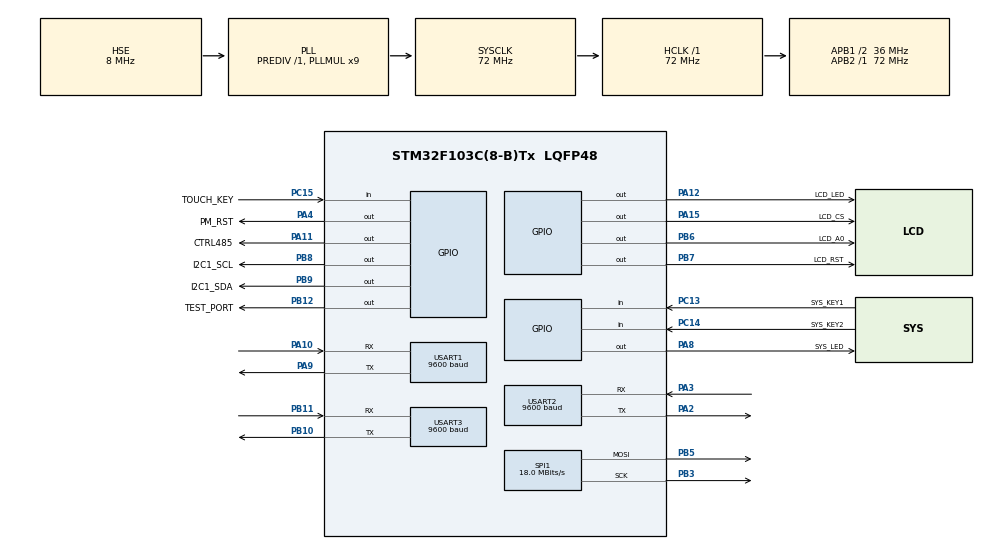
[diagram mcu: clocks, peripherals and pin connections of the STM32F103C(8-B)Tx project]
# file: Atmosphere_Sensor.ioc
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Dma.Request0=USART3_TX
Dma.Request1=USART2_TX
Dma.Request2=USART1_TX
Dma.USART1_TX.2.Direction=DMA_MEMORY_TO_PERIPH
Dma.USART1_TX.2.Instance=DMA1_Channel4
Dma.USART1_TX.2.MemDataAlignment=DMA_MDATAALIGN_BYTE
Dma.USART1_TX.2.MemInc=DMA_MINC_ENABLE
Dma.USART1_TX.2.Mode=DMA_NORMAL
Dma.USART1_TX.2.PeriphDataAlignment=DMA_PDATAALIGN_BYTE
Dma.USART1_TX.2.PeriphInc=DMA_PINC_DISABLE
Dma.USART1_TX.2.Priority=DMA_PRIORITY_LOW
Dma.USART2_TX.1.Direction=DMA_MEMORY_TO_PERIPH
Dma.USART2_TX.1.Instance=DMA1_Channel7
Dma.USART2_TX.1.MemDataAlignment=DMA_MDATAALIGN_BYTE
Dma.USART2_TX.1.MemInc=DMA_MINC_ENABLE
Dma.USART2_TX.1.Mode=DMA_NORMAL
Dma.USART2_TX.1.PeriphDataAlignment=DMA_PDATAALIGN_BYTE
Dma.USART2_TX.1.PeriphInc=DMA_PINC_DISABLE
Dma.USART2_TX.1.Priority=DMA_PRIORITY_LOW
Dma.USART3_TX.0.Direction=DMA_MEMORY_TO_PERIPH
Dma.USART3_TX.0.Instance=DMA1_Channel2
Dma.USART3_TX.0.MemDataAlignment=DMA_MDATAALIGN_BYTE
Dma.USART3_TX.0.MemInc=DMA_MINC_ENABLE
Dma.USART3_TX.0.Mode=DMA_NORMAL
Dma.USART3_TX.0.PeriphDataAlignment=DMA_PDATAALIGN_BYTE
Dma.USART3_TX.0.PeriphInc=DMA_PINC_DISABLE
Dma.USART3_TX.0.Priority=DMA_PRIORITY_LOW
FREERTOS.BinarySemaphores01=MODBUS_RX_CPL,Static,MODBUS_RX_CPL_ControlBlock;VOC_RX_CPL,Static,VOC_RX_CPLControlBlock;PM25_RX_CPL,Static,PM25_RX_CPLControlBlock;RUSH_DISPLAY_REQUEST,Static,RUSH_DISPLAY_REQUESTControlBlock
FREERTOS.HEAP_NUMBER=4
FREERTOS.Tasks01=defaultTask,0,64,StartDefaultTask,Default,NULL,Dynamic,NULL,NULL;LCD_Display,0,128,StartTask_LCD_Display,Default,NULL,Dynamic,NULL,NULL;TH_Sensor,0,128,StartTask_TH_Sensor,Default,NULL,Dynamic,NULL,NULL;Atmosphere,0,128,StartTask_Atmosphere,Default,NULL,Dynamic,NULL,NULL;Modbus,1,192,StartTask_Modbus,Default,NULL,Dynamic,NULL,NULL
FREERTOS.configMINIMAL_STACK_SIZE=64
FREERTOS.configTOTAL_HEAP_SIZE=3136
Mcu.Family=STM32F1
Mcu.Name=STM32F103C(8-B)Tx
Mcu.Package=LQFP48
NVIC.DMA1_Channel2_IRQn=true\:5\:0\:false\:false\:true\:true\:false\:true
NVIC.DMA1_Channel4_IRQn=true\:5\:0\:false\:false\:true\:true\:false\:true
NVIC.DMA1_Channel7_IRQn=true\:5\:0\:false\:false\:true\:true\:false\:true
NVIC.PriorityGroup=NVIC_PRIORITYGROUP_4
NVIC.TIM1_UP_IRQn=true\:0\:0\:false\:false\:true\:false\:false\:true
NVIC.TIM4_IRQn=true\:5\:0\:false\:false\:true\:true\:true\:true
NVIC.TimeBase=TIM1_UP_IRQn
NVIC.TimeBaseIP=TIM1
NVIC.USART1_IRQn=true\:5\:0\:false\:false\:true\:true\:true\:true
NVIC.USART2_IRQn=true\:5\:0\:false\:false\:true\:true\:true\:true
NVIC.USART3_IRQn=true\:5\:0\:false\:false\:true\:true\:true\:true
PA10.Mode=Asynchronous
PA10.Signal=USART1_RX
PA11.GPIO_Label=CTRL485
PA11.Signal=GPIO_Output
PA12.GPIO_Label=LCD_LED
PA12.Signal=GPIO_Output
PA13.Mode=Serial_Wire
PA13.Signal=SYS_JTMS-SWDIO
PA14.Mode=Serial_Wire
PA14.Signal=SYS_JTCK-SWCLK
PA15.GPIO_Label=LCD_CS
PA15.Signal=GPIO_Output
PA2.Mode=Asynchronous
PA2.Signal=USART2_TX
PA3.Mode=Asynchronous
PA3.Signal=USART2_RX
PA4.GPIO_Label=PM_RST
PA4.PinState=GPIO_PIN_SET
PA4.Signal=GPIO_Output
PA8.GPIO_Label=SYS_LED
PA8.PinState=GPIO_PIN_SET
PA8.Signal=GPIO_Output
PA9.Mode=Asynchronous
PA9.Signal=USART1_TX
PB10.Mode=Asynchronous
PB10.Signal=USART3_TX
PB11.Mode=Asynchronous
PB11.Signal=USART3_RX
PB12.GPIO_Label=TEST_PORT
PB12.Signal=GPIO_Output
PB3.Mode=TX_Only_Simplex_Unidirect_Master
PB3.Signal=SPI1_SCK
PB5.Mode=TX_Only_Simplex_Unidirect_Master
PB5.Signal=SPI1_MOSI
PB6.GPIO_Label=LCD_A0
PB6.Signal=GPIO_Output
PB7.GPIO_Label=LCD_RST
PB7.Signal=GPIO_Output
PB8.GPIO_Label=I2C1_SCL
PB8.Signal=GPIO_Output
PB9.GPIO_Label=I2C1_SDA
PB9.Signal=GPIO_Output
PC13-TAMPER-RTC.GPIO_Label=SYS_KEY1
PC13-TAMPER-RTC.GPIO_PuPd=GPIO_PULLUP
PC13-TAMPER-RTC.Signal=GPIO_Input
PC14-OSC32_IN.GPIO_Label=SYS_KEY2
PC14-OSC32_IN.GPIO_PuPd=GPIO_PULLUP
PC14-OSC32_IN.Signal=GPIO_Input
PC15-OSC32_OUT.GPIO_Label=TOUCH_KEY
PC15-OSC32_OUT.Signal=GPIO_Input
PD0-OSC_IN.Mode=HSE-External-Oscillator
PD0-OSC_IN.Signal=RCC_OSC_IN
PD1-OSC_OUT.Mode=HSE-External-Oscillator
PD1-OSC_OUT.Signal=RCC_OSC_OUT
ProjectManager.HeapSize=0x200
ProjectManager.StackSize=0x400
ProjectManager.TargetToolchain=MDK-ARM V5
RCC.AHBFreq_Value=72000000
RCC.APB1CLKDivider=RCC_HCLK_DIV2
RCC.APB1Freq_Value=36000000
RCC.APB1TimFreq_Value=72000000
RCC.APB2Freq_Value=72000000
RCC.APB2TimFreq_Value=72000000
RCC.HCLKFreq_Value=72000000
RCC.PLLMUL=RCC_PLL_MUL9
RCC.PLLSourceVirtual=RCC_PLLSOURCE_HSE
RCC.SYSCLKFreq_VALUE=72000000
RCC.SYSCLKSource=RCC_SYSCLKSOURCE_PLLCLK
RCC.USBFreq_Value=72000000
SPI1.BaudRatePrescaler=SPI_BAUDRATEPRESCALER_4
SPI1.CalculateBaudRate=18.0 MBits/s
SPI1.Direction=SPI_DIRECTION_2LINES
SPI1.Mode=SPI_MODE_MASTER
SPI1.VirtualType=VM_MASTER
TIM4.Period=100-1
TIM4.Prescaler=72-1
USART1.BaudRate=9600
USART1.VirtualMode=VM_ASYNC
USART2.BaudRate=9600
USART2.VirtualMode=VM_ASYNC
USART3.BaudRate=9600
USART3.VirtualMode=VM_ASYNC
VP_FREERTOS_VS_CMSIS_V1.Mode=CMSIS_V1
VP_SYS_VS_tim1.Mode=TIM1
VP_TIM4_VS_ClockSourceINT.Mode=Internal
board=custom

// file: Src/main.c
/* USER CODE BEGIN Header */
/**
  ******************************************************************************
  * @file           : main.c
  * @brief          : Main program body
  ******************************************************************************
  * @attention
  *
  * <h2><center>&copy; Copyright (c) 2020 STMicroelectronics.
  * All rights reserved.</center></h2>
  *
  * This software component is licensed by ST under Ultimate Liberty license
  * SLA0044, the "License"; You may not use this file except in compliance with
  * the License. You may obtain a copy of the License at:
  *                             www.st.com/SLA0044
  *
  ******************************************************************************
  */
/* USER CODE END Header */

#include "main.h"
#include "cmsis_os.h"
#include "dma.h"
#include "spi.h"
#include "tim.h"
#include "usart.h"
#include "gpio.h"

/* USER CODE BEGIN Includes */
#include "stdio.h"
#include "string.h"
#include "st7735.h"
#include "modbus.h"
#include "tvoc.h"
#include "pm25.h"
/* USER CODE END Includes */

/* USER CODE BEGIN PV */
uint16_t Temperature_Data;
uint16_t Humidity_Data;
uint16_t Pm25_Data;
uint16_t Pm10_Data;
uint16_t Eco2_Data;
uint16_t Tvoc_Data;
uint16_t Ch2o_Data;

unsigned int Display_Sensor_Type = 0;//显示传感器类型
char *String_Display_Sensor_Type[8] = {"Temperature"," Humidity  ","    PM25   ","    PM10   ","    eCO2   ","    TVOC   ","    HCHO   ","    All"};
char Lcd_Display_Buff[8];

//===========外部变量_START================
extern osSemaphoreId VOC_RX_CPLHandle;
extern osSemaphoreId PM25_RX_CPLHandle;

extern char Lcd_Display_Buff[8];

extern uint8_t Tvoc_Data_Buff[6];
extern uint8_t Pm25_Data_Buff[4];
extern int16_t Actual_Temperature_Data;
extern int16_t Actual_Humidity_Data;

extern uint16_t * Modbus_Memory_Address;//modbus数据存储空间首地址modbus.c
//===========外部变量_END================

/* USER CODE END PV */

void SystemClock_Config(void);
void MX_FREERTOS_Init(void);

/* USER CODE BEGIN 0 */

//串口接收完成回调
void HAL_UART_RxCpltCallback(UART_HandleTypeDef *huart)
{
//======Uart1_START========
	if(huart->Instance == USART1)
	{
		Modbus_Uart_Rx_Int_Process();
	}
//======Uart1_END========

//======Uart2_START========
	if(huart->Instance == USART2)
	{
		osSemaphoreRelease(PM25_RX_CPLHandle);
	}
//======Uart2_END========

//======Uart3_START========
	if(huart->Instance == USART3)
	{
		osSemaphoreRelease(VOC_RX_CPLHandle);
	}
//======Uart3_END========
}

//串口发送完成回调
void HAL_UART_TxCpltCallback(UART_HandleTypeDef *huart)
{
	if(huart->Instance == USART1)
	{
		Modbus_Uart_Tx_Complete_Process();
	}
}

/* USER CODE END 0 */

int main(void)
{

  /* MCU Configuration--------------------------------------------------------*/

  /* Reset of all peripherals, Initializes the Flash interface and the Systick. */
  HAL_Init();

  /* Configure the system clock */
  SystemClock_Config();

  /* Initialize all configured peripherals */
  MX_GPIO_Init();
  MX_DMA_Init();
  MX_USART1_UART_Init();
  MX_USART2_UART_Init();
  MX_USART3_UART_Init();
  MX_SPI1_Init();
  MX_TIM4_Init();
  /* USER CODE BEGIN 2 */
//	HAL_UART_Transmit(&huart2,String_Statr,strlen((char *)String_Statr),10000);
//	HAL_UART_Receive_IT(&huart2,Rx_uart2_buff,4);

	Eco2_Data = 0;
	Tvoc_Data = 0;
	Ch2o_Data = 0;
	Temperature_Data = 0;
	Humidity_Data = 0;
	Pm25_Data = 0;
	Pm10_Data = 0;

	Modbus_Memory_Address = &Temperature_Data;
	Init_Modbus();
	HAL_TIM_Base_Start_IT(&htim4);//启动定时器4

	ST7735_Init();
	ST7735_Clear(COLOR565_BLACK);
	ST7735_Clear(COLOR565_BLACK);
	ST7735_Rect(0,0,159,127,COLOR565_RED);
	ST7735_Rect(1,1,158,126,COLOR565_RED);
	ST7735_HLine(1, 158, 26,COLOR565_RED);

//	ST7735_Rect(0,0,159,127,COLOR565_RED);
//	ST7735_Rect(1,1,158,126,COLOR565_RED);
//	ST7735_HLine(1, 158, 26,COLOR565_RED);
//	ST7735_HLine(1, 158, 51,COLOR565_RED);
//	ST7735_HLine(1, 158, 76,COLOR565_RED);
//	ST7735_HLine(1, 158, 101,COLOR565_RED);
//	ST7735_VLine(79, 76, 126,COLOR565_RED);

//	ST7735_PutStr7x11(5,  8, "Temperature:", COLOR565_RED,COLOR565_BLACK);
//	ST7735_PutStr7x11(5,  33, "Humidity:", COLOR565_RED,COLOR565_BLACK);
//	ST7735_PutStr7x11(5,  58, "eCO2:", COLOR565_RED,COLOR565_BLACK);
//	ST7735_PutStr7x11(5,  83, "TVOC:", COLOR565_RED,COLOR565_BLACK);
//	ST7735_PutStr7x11(82,  83, "CH2O:", COLOR565_RED,COLOR565_BLACK);
//	ST7735_PutStr7x11(5,  108, "PM2.5:", COLOR565_RED,COLOR565_BLACK);
//	ST7735_PutStr7x11(82,  108, "PM10:", COLOR565_RED,COLOR565_BLACK);

	LCD_LED_ON();

	HAL_Delay(5000);
	Init_Tvoc();
	Init_Pm25();
	HAL_Delay(500);

  /* USER CODE END 2 */

  /* Call init function for freertos objects (in freertos.c) */
  MX_FREERTOS_Init();
  /* Start scheduler */
  osKernelStart();

  /* We should never get here as control is now taken by the scheduler */
  /* Infinite loop */
  while (1)
  {

    /* USER CODE BEGIN 3 */
	LED_SYS_OFF();
	if(Get_Tvoc(Tvoc_Data_Buff) >= 0)
	{
		Eco2_Data = Tvoc_Data_Buff[0];
		Eco2_Data = Eco2_Data << 8;
		Eco2_Data += Tvoc_Data_Buff[1];

		Tvoc_Data = Tvoc_Data_Buff[2];
		Tvoc_Data = Tvoc_Data << 8;
		Tvoc_Data += Tvoc_Data_Buff[3];

		Ch2o_Data = Tvoc_Data_Buff[4];
		Ch2o_Data = Ch2o_Data << 8;
		Ch2o_Data += Tvoc_Data_Buff[5];
	}
	else
	{
		Eco2_Data = 9999;
		Tvoc_Data = 9999;
		Ch2o_Data = 9999;
	}

//  HAL_Delay(1000);
	LED_SYS_ON();

	if(Get_Pm25(Pm25_Data_Buff) >= 0 )
	{
		Pm25_Data = Pm25_Data_Buff[0];
		Pm25_Data = Pm25_Data << 8;
		Pm25_Data += Pm25_Data_Buff[1];

		Pm10_Data = Pm25_Data_Buff[2];
		Pm10_Data = Pm10_Data << 8;
		Pm10_Data += Pm25_Data_Buff[3];
	}
	else
	{
		Pm25_Data = 9999;
		Pm10_Data = 9999;
	}

    HAL_Delay(1000);

	LED_SYS_ON();

	sprintf((char *)Lcd_Display_Buff,"%.1f C",(float)Actual_Temperature_Data/10);
	ST7735_PutStr7x11(104,  8,Lcd_Display_Buff, COLOR565_WHITE_SMOKE,COLOR565_BLACK);
	sprintf((char *)Lcd_Display_Buff,"%.1f %%",(float)Actual_Humidity_Data/10);
	ST7735_PutStr7x11(88,  33,Lcd_Display_Buff, COLOR565_WHITE_SMOKE,COLOR565_BLACK);

	sprintf((char *)Lcd_Display_Buff,"%d ppm",Eco2_Data);
	ST7735_PutStr7x11(48,  58,"        ", COLOR565_WHITE_SMOKE,COLOR565_BLACK);
	ST7735_PutStr7x11(48,  58,Lcd_Display_Buff, COLOR565_WHITE_SMOKE,COLOR565_BLACK);
	sprintf((char *)Lcd_Display_Buff,"%d",Tvoc_Data);
	ST7735_PutStr7x11(47,  83,"    ", COLOR565_WHITE_SMOKE,COLOR565_BLACK);
	ST7735_PutStr7x11(47,  83,Lcd_Display_Buff, COLOR565_WHITE_SMOKE,COLOR565_BLACK);
	sprintf((char *)Lcd_Display_Buff,"%d",Ch2o_Data);
	ST7735_PutStr7x11(124,  83,"    ", COLOR565_WHITE_SMOKE,COLOR565_BLACK);
	ST7735_PutStr7x11(124,  83,Lcd_Display_Buff, COLOR565_WHITE_SMOKE,COLOR565_BLACK);

	sprintf((char *)Lcd_Display_Buff,"%d",Pm25_Data);
	ST7735_PutStr7x11(47,  108,"    ", COLOR565_WHITE_SMOKE,COLOR565_BLACK);
	ST7735_PutStr7x11(47,  108,Lcd_Display_Buff, COLOR565_WHITE_SMOKE,COLOR565_BLACK);
	sprintf((char *)Lcd_Display_Buff,"%d",Pm10_Data);
	ST7735_PutStr7x11(117,  108,"    ", COLOR565_WHITE_SMOKE,COLOR565_BLACK);
	ST7735_PutStr7x11(117,  108,Lcd_Display_Buff, COLOR565_WHITE_SMOKE,COLOR565_BLACK);
    HAL_Delay(1000);

  }
  /* USER CODE END 3 */
}

void SystemClock_Config(void)
{
  RCC_OscInitTypeDef RCC_OscInitStruct = {0};
  RCC_ClkInitTypeDef RCC_ClkInitStruct = {0};

  /** Initializes the CPU, AHB and APB busses clocks
  */
  RCC_OscInitStruct.OscillatorType = RCC_OSCILLATORTYPE_HSE;
  RCC_OscInitStruct.HSEState = RCC_HSE_ON;
  RCC_OscInitStruct.HSEPredivValue = RCC_HSE_PREDIV_DIV1;
  RCC_OscInitStruct.HSIState = RCC_HSI_ON;
  RCC_OscInitStruct.PLL.PLLState = RCC_PLL_ON;
  RCC_OscInitStruct.PLL.PLLSource = RCC_PLLSOURCE_HSE;
  RCC_OscInitStruct.PLL.PLLMUL = RCC_PLL_MUL9;
  if (HAL_RCC_OscConfig(&RCC_OscInitStruct) != HAL_OK)
  {
    Error_Handler();
  }
  /** Initializes the CPU, AHB and APB busses clocks
  */
  RCC_ClkInitStruct.ClockType = RCC_CLOCKTYPE_HCLK|RCC_CLOCKTYPE_SYSCLK
                              |RCC_CLOCKTYPE_PCLK1|RCC_CLOCKTYPE_PCLK2;
  RCC_ClkInitStruct.SYSCLKSource = RCC_SYSCLKSOURCE_PLLCLK;
  RCC_ClkInitStruct.AHBCLKDivider = RCC_SYSCLK_DIV1;
  RCC_ClkInitStruct.APB1CLKDivider = RCC_HCLK_DIV2;
  RCC_ClkInitStruct.APB2CLKDivider = RCC_HCLK_DIV1;

  if (HAL_RCC_ClockConfig(&RCC_ClkInitStruct, FLASH_LATENCY_2) != HAL_OK)
  {
    Error_Handler();
  }
}

 /**
  * @brief  Period elapsed callback in non blocking mode
  * @note   This function is called  when TIM1 interrupt took place, inside
  * HAL_TIM_IRQHandler(). It makes a direct call to HAL_IncTick() to increment
  * a global variable "uwTick" used as application time base.
  * @param  htim : TIM handle
  * @retval None
  */
void HAL_TIM_PeriodElapsedCallback(TIM_HandleTypeDef *htim)
{
  if (htim->Instance == TIM1) {
    HAL_IncTick();
  }
  /* USER CODE BEGIN Callback 1 */

	//定时器4溢出中断回调
	if(htim->Instance == TIM4)
	{
		Modbus_Timer_Process();
	}
  /* USER CODE END Callback 1 */
}

void Error_Handler(void)
{
}

/************************ (C) COPYRIGHT STMicroelectronics *****END OF FILE****/

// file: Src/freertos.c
/* USER CODE BEGIN Header */
/**
  ******************************************************************************
  * File Name          : freertos.c
  * Description        : Code for freertos applications
  ******************************************************************************
  * @attention
  *
  * <h2><center>&copy; Copyright (c) 2020 STMicroelectronics.
  * All rights reserved.</center></h2>
  *
  * This software component is licensed by ST under Ultimate Liberty license
  * SLA0044, the "License"; You may not use this file except in compliance with
  * the License. You may obtain a copy of the License at:
  *                             www.st.com/SLA0044
  *
  ******************************************************************************
  */
/* USER CODE END Header */

#include "FreeRTOS.h"
#include "task.h"
#include "main.h"
#include "cmsis_os.h"

/* USER CODE BEGIN Includes */
#include "stdio.h"
#include "string.h"
#include "usart.h"
#include "st7735.h"
#include "modbus.h"
#include "tvoc.h"
#include "pm25.h"
#include "sht2x_i2c.h"
#include "key.h"
#include "display_number.h"
#include "data_colour.h"
#include "user_config.h"

/* USER CODE END Includes */

/* USER CODE BEGIN Variables */
extern uint8_t Tvoc_Data_Buff[6];
extern uint8_t Pm25_Data_Buff[4];
extern uint16_t Temperature_Data;
extern uint16_t Humidity_Data;
extern uint16_t Eco2_Data;
extern uint16_t Tvoc_Data;
extern uint16_t Ch2o_Data;
extern uint16_t Pm25_Data;
extern uint16_t Pm10_Data;
extern int16_t Actual_Temperature_Data;
extern int16_t Actual_Humidity_Data;
extern uint16_t Modbus_Memory_List[];//���ݴ洢�ռ�//modbus.c

extern _AQI_COLOUR_TABLE Co2_Colour_Table;//������ɫ��Ӧ��//data_colour.c
extern _AQI_COLOUR_TABLE Co_Colour_Table;//������ɫ��Ӧ��//data_colour.c
extern _AQI_COLOUR_TABLE Hcho_Colour_Table;//������ɫ��Ӧ��//data_colour.c
extern _AQI_COLOUR_TABLE Tvoc_Colour_Table;//������ɫ��Ӧ��//data_colour.c
extern _AQI_COLOUR_TABLE Pm25_Colour_Table;//AQI��ɫ��Ӧ��//data_colour.c
extern _AQI_COLOUR_TABLE Pm10_Colour_Table;//AQI��ɫ��Ӧ��//data_colour.c
extern _TEMPERATURE_COLOUR_TABLE Temperature_Colour_Table;//�¶���ɫ��Ӧ��//data_colour.c
extern _TEMPERATURE_COLOUR_TABLE Humidity_Colour_Table;//ʪ����ɫ��Ӧ��//data_colour.c

extern unsigned int Display_Sensor_Type;//��ʾ����������main.c
extern char *String_Display_Sensor_Type[7];//main.c
extern char Lcd_Display_Buff[8];//main.c

/* USER CODE END Variables */
osThreadId defaultTaskHandle;
osThreadId LCD_DisplayHandle;
osThreadId TH_SensorHandle;
osThreadId AtmosphereHandle;
osThreadId ModbusHandle;
osSemaphoreId MODBUS_RX_CPLHandle;
osStaticSemaphoreDef_t MODBUS_RX_CPL_ControlBlock;
osSemaphoreId VOC_RX_CPLHandle;
osStaticSemaphoreDef_t VOC_RX_CPLControlBlock;
osSemaphoreId PM25_RX_CPLHandle;
osStaticSemaphoreDef_t PM25_RX_CPLControlBlock;
osSemaphoreId RUSH_DISPLAY_REQUESTHandle;
osStaticSemaphoreDef_t RUSH_DISPLAY_REQUESTControlBlock;

void StartDefaultTask(void const * argument);
void StartTask_LCD_Display(void const * argument);
void StartTask_TH_Sensor(void const * argument);
void StartTask_Atmosphere(void const * argument);
void StartTask_Modbus(void const * argument);

void MX_FREERTOS_Init(void); /* (MISRA C 2004 rule 8.1) */

/* GetIdleTaskMemory prototype (linked to static allocation support) */
void vApplicationGetIdleTaskMemory( StaticTask_t **ppxIdleTaskTCBBuffer, StackType_t **ppxIdleTaskStackBuffer, uint32_t *pulIdleTaskStackSize );

/* USER CODE BEGIN GET_IDLE_TASK_MEMORY */
static StaticTask_t xIdleTaskTCBBuffer;
static StackType_t xIdleStack[configMINIMAL_STACK_SIZE];

void vApplicationGetIdleTaskMemory( StaticTask_t **ppxIdleTaskTCBBuffer, StackType_t **ppxIdleTaskStackBuffer, uint32_t *pulIdleTaskStackSize )
{
  *ppxIdleTaskTCBBuffer = &xIdleTaskTCBBuffer;
  *ppxIdleTaskStackBuffer = &xIdleStack[0];
  *pulIdleTaskStackSize = configMINIMAL_STACK_SIZE;
  /* place for user code */
}
/* USER CODE END GET_IDLE_TASK_MEMORY */

void MX_FREERTOS_Init(void) {

  /* Create the semaphores(s) */
  /* definition and creation of MODBUS_RX_CPL */
  osSemaphoreStaticDef(MODBUS_RX_CPL, &MODBUS_RX_CPL_ControlBlock);
  MODBUS_RX_CPLHandle = osSemaphoreCreate(osSemaphore(MODBUS_RX_CPL), 1);

  /* definition and creation of VOC_RX_CPL */
  osSemaphoreStaticDef(VOC_RX_CPL, &VOC_RX_CPLControlBlock);
  VOC_RX_CPLHandle = osSemaphoreCreate(osSemaphore(VOC_RX_CPL), 1);

  /* definition and creation of PM25_RX_CPL */
  osSemaphoreStaticDef(PM25_RX_CPL, &PM25_RX_CPLControlBlock);
  PM25_RX_CPLHandle = osSemaphoreCreate(osSemaphore(PM25_RX_CPL), 1);

  /* definition and creation of RUSH_DISPLAY_REQUEST */
  osSemaphoreStaticDef(RUSH_DISPLAY_REQUEST, &RUSH_DISPLAY_REQUESTControlBlock);
  RUSH_DISPLAY_REQUESTHandle = osSemaphoreCreate(osSemaphore(RUSH_DISPLAY_REQUEST), 1);

  /* Create the thread(s) */
  /* definition and creation of defaultTask */
  osThreadDef(defaultTask, StartDefaultTask, osPriorityNormal, 0, 64);
  defaultTaskHandle = osThreadCreate(osThread(defaultTask), NULL);

  /* definition and creation of LCD_Display */
  osThreadDef(LCD_Display, StartTask_LCD_Display, osPriorityNormal, 0, 128);
  LCD_DisplayHandle = osThreadCreate(osThread(LCD_Display), NULL);

  /* definition and creation of TH_Sensor */
  osThreadDef(TH_Sensor, StartTask_TH_Sensor, osPriorityNormal, 0, 128);
  TH_SensorHandle = osThreadCreate(osThread(TH_Sensor), NULL);

  /* definition and creation of Atmosphere */
  osThreadDef(Atmosphere, StartTask_Atmosphere, osPriorityNormal, 0, 128);
  AtmosphereHandle = osThreadCreate(osThread(Atmosphere), NULL);

  /* definition and creation of Modbus */
  osThreadDef(Modbus, StartTask_Modbus, osPriorityAboveNormal, 0, 192);
  ModbusHandle = osThreadCreate(osThread(Modbus), NULL);

}

void StartDefaultTask(void const * argument)
{
  /* USER CODE BEGIN StartDefaultTask */
	uint8_t one_second_counter = 0;
	uint8_t key_data;
  /* Infinite loop */
  for(;;)
  {
	key_data = Read_Key();
	switch(key_data)
	{
		case 1:
			Standby_Pm25();
			break;
		case 2:
			Work_Pm25();
			break;
		case 3:
			if(++Display_Sensor_Type >= _END_OF_DISPALY_TYPE)
				Display_Sensor_Type = _TEMPERATURE;
			osSemaphoreRelease(RUSH_DISPLAY_REQUESTHandle);
			break;
	}
	key_data = 0;
	if(++one_second_counter >= 10)
	{
		one_second_counter = 0;
//		LED_SYS_TOGGLE();
	}
	Temperature_Data = Actual_Temperature_Data - 20;
	Humidity_Data = Actual_Humidity_Data;
	osDelay(100);
  }
  /* USER CODE END StartDefaultTask */
}

void StartTask_LCD_Display(void const * argument)
{
  /* USER CODE BEGIN StartTask_LCD_Display */
  /* Infinite loop */
  for(;;)
  {

	ST7735_PutStr7x11(33,  8, String_Display_Sensor_Type[Display_Sensor_Type], COLOR565_WHITE_SMOKE,COLOR565_BLACK);

	switch(Display_Sensor_Type)
	{
		case _TEMPERATURE:
			ST7735_PutStr7x11(110,  82,"   'C", COLOR565_GREEN,COLOR565_BLACK);
			ST7735_Put_3Bits_Big_Percent_Number(3, 40, (Temperature_Data), Set_Temperature_Colour((Temperature_Data), &Temperature_Colour_Table), COLOR565_BLACK);
			break;
		case _HUMIDITY:
			ST7735_PutStr7x11(110,  82,"    %", COLOR565_GREEN,COLOR565_BLACK);
			ST7735_Put_3Bits_Big_Percent_Number(3, 40, Humidity_Data, Set_Temperature_Colour(Humidity_Data, &Temperature_Colour_Table), COLOR565_BLACK);
			break;
		case _PM25:
			ST7735_PutStr7x11(110,  82,"ug/m3", COLOR565_GREEN,COLOR565_BLACK);
			ST7735_Put_4Bits_Big_Number(19, 40, Pm25_Data, Set_Aqi_Colour(Pm25_Data, &Pm25_Colour_Table), COLOR565_BLACK);
			break;
		case _PM10:
			ST7735_PutStr7x11(110,  82,"ug/m3", COLOR565_GREEN,COLOR565_BLACK);
			ST7735_Put_4Bits_Big_Number(19, 40, Pm10_Data, Set_Aqi_Colour(Pm10_Data, &Pm10_Colour_Table), COLOR565_BLACK);
			break;
		case _ECO2:
			ST7735_PutStr7x11(110,  82,"  ppm", COLOR565_GREEN,COLOR565_BLACK);
			ST7735_Put_4Bits_Big_Number(19, 40, Eco2_Data, Set_Aqi_Colour(Eco2_Data, &Co2_Colour_Table), COLOR565_BLACK);
			break;
		case _TVOC:
			ST7735_PutStr7x11(110,  82,"  ppb", COLOR565_GREEN,COLOR565_BLACK);
			ST7735_Put_4Bits_Big_Number(19, 40, Tvoc_Data, Set_Aqi_Colour(Tvoc_Data, &Tvoc_Colour_Table), COLOR565_BLACK);
			break;
		case _CH2O:
			ST7735_PutStr7x11(110,  82,"ug/m3", COLOR565_GREEN,COLOR565_BLACK);
			ST7735_Put_4Bits_Big_Number(19, 40, Ch2o_Data, Set_Aqi_Colour(Ch2o_Data, &Hcho_Colour_Table), COLOR565_BLACK);
			break;
//		case _ALL_SENSOR:
//			sprintf((char *)Lcd_Display_Buff,"%.1f'C",(float)Actual_Temperature_Data/10);
//			ST7735_PutStr7x11(104,  8,Lcd_Display_Buff, COLOR565_WHITE_SMOKE,COLOR565_BLACK);
//			sprintf((char *)Lcd_Display_Buff,"%.1f %%",(float)Actual_Humidity_Data/10);
//			ST7735_PutStr7x11(88,  33,Lcd_Display_Buff, COLOR565_WHITE_SMOKE,COLOR565_BLACK);
//			sprintf((char *)Lcd_Display_Buff,"%d ppm",Eco2_Data);
//			ST7735_PutStr7x11(48,  58,"        ", COLOR565_WHITE_SMOKE,COLOR565_BLACK);
//			ST7735_PutStr7x11(48,  58,Lcd_Display_Buff, COLOR565_WHITE_SMOKE,COLOR565_BLACK);
//			sprintf((char *)Lcd_Display_Buff,"%d",Tvoc_Data);
//			ST7735_PutStr7x11(47,  83,"    ", COLOR565_WHITE_SMOKE,COLOR565_BLACK);
//			ST7735_PutStr7x11(47,  83,Lcd_Display_Buff, COLOR565_WHITE_SMOKE,COLOR565_BLACK);
//			sprintf((char *)Lcd_Display_Buff,"%d",Ch2o_Data);
//			ST7735_PutStr7x11(124,  83,"    ", COLOR565_WHITE_SMOKE,COLOR565_BLACK);
//			ST7735_PutStr7x11(124,  83,Lcd_Display_Buff, COLOR565_WHITE_SMOKE,COLOR565_BLACK);
//			sprintf((char *)Lcd_Display_Buff,"%d",Pm25_Data);
//			ST7735_PutStr7x11(47,  108,"    ", COLOR565_WHITE_SMOKE,COLOR565_BLACK);
//			ST7735_PutStr7x11(47,  108,Lcd_Display_Buff, COLOR565_WHITE_SMOKE,COLOR565_BLACK);
//			sprintf((char *)Lcd_Display_Buff,"%d",Pm10_Data);
//			ST7735_PutStr7x11(117,  108,"    ", COLOR565_WHITE_SMOKE,COLOR565_BLACK);
//			ST7735_PutStr7x11(117,  108,Lcd_Display_Buff, COLOR565_WHITE_SMOKE,COLOR565_BLACK);
//			break;
		default:
			break;
	}

    osSemaphoreWait(RUSH_DISPLAY_REQUESTHandle,2000);
  }
  /* USER CODE END StartTask_LCD_Display */
}

void StartTask_TH_Sensor(void const * argument)
{
  /* USER CODE BEGIN StartTask_TH_Sensor */
  /* Infinite loop */
  for(;;)
  {
	Task_TH_Sensor();
    osDelay(1);
  }
  /* USER CODE END StartTask_TH_Sensor */
}

void StartTask_Atmosphere(void const * argument)
{
  /* USER CODE BEGIN StartTask_Atmosphere */
  /* Infinite loop */
  for(;;)
  {
	LED_SYS_OFF();
	if(Get_Tvoc(Tvoc_Data_Buff) >= 0)
	{
		Eco2_Data = Tvoc_Data_Buff[0];
		Eco2_Data = Eco2_Data << 8;
		Eco2_Data += Tvoc_Data_Buff[1];

		Tvoc_Data = Tvoc_Data_Buff[2];
		Tvoc_Data = Tvoc_Data << 8;
		Tvoc_Data += Tvoc_Data_Buff[3];

		Ch2o_Data = Tvoc_Data_Buff[4];
		Ch2o_Data = Ch2o_Data << 8;
		Ch2o_Data += Tvoc_Data_Buff[5];
	}
	else
	{
		Eco2_Data = 999;
		Tvoc_Data = 999;
		Ch2o_Data = 999;
	}
    osDelay(1000);

	LED_SYS_ON();
	if(Get_Pm25(Pm25_Data_Buff) >= 0 )
	{
		Pm25_Data = Pm25_Data_Buff[0];
		Pm25_Data = Pm25_Data << 8;
		Pm25_Data += Pm25_Data_Buff[1];

		Pm10_Data = Pm25_Data_Buff[2];
		Pm10_Data = Pm10_Data << 8;
		Pm10_Data += Pm25_Data_Buff[3];
	}
	else
	{
		Pm25_Data = 999;
		Pm10_Data = 999;
	}
    osDelay(1000);
  }
  /* USER CODE END StartTask_Atmosphere */
}

void StartTask_Modbus(void const * argument)
{
  /* USER CODE BEGIN StartTask_Modbus */
  /* Infinite loop */
  for(;;)
  {
	Task_Modbus();
    osDelay(1);
  }
  /* USER CODE END StartTask_Modbus */
}

/************************ (C) COPYRIGHT STMicroelectronics *****END OF FILE****/
